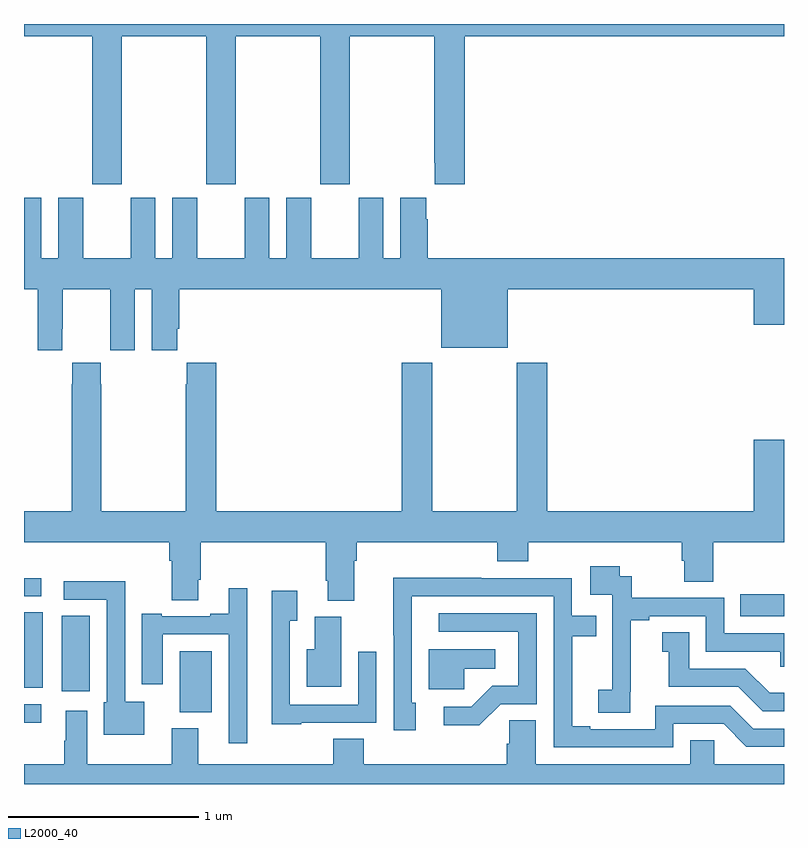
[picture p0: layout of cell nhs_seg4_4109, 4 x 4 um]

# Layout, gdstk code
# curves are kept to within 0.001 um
import gdstk
lib = gdstk.Library(unit=1e-6, precision=1e-09)
def R(c, l, rs):  # rectangles x0, y0, x1, y1
    for r in rs: c.add(gdstk.rectangle(r[:2], r[2:], *l))
def P(c, l, *ps):  # polygons
    for p in ps: c.add(gdstk.Polygon(p, *l))
L2000_40 = (2000, 40)

nhs_seg4_4109 = lib.new_cell('nhs_seg4_4109')
R(nhs_seg4_4109, L2000_40, [(329,777.223,329.092,777.321), (329.819,777.278,329.989,777.598), (329.198,777.387,329.347,777.785), (329,777.406,329.098,777.803), (332.77,777.783,333,777.898), (329,777.888,329.092,777.984)])
P(nhs_seg4_4109, L2000_40, [(329.514,780.836),(329.959,780.836),(329.959,780.057),(330.114,780.057),(330.114,780.836),(330.559,780.836),(330.559,780.057),(330.714,780.057),(330.714,780.836),(331.159,780.836),(331.159,780.169),(331.163,780.169),(331.163,780.057),(331.319,780.057),(331.319,780.836),(333,780.836),(333,780.9),(329,780.9),(329,780.836),(329.359,780.836),(329.359,780.057),(329.514,780.057)],
  [(329.202,779.296),(329.203,779.296),(329.203,779.504),(329.453,779.504),(329.453,779.296),(329.454,779.296),(329.454,779.184),(329.584,779.184),(329.584,779.504),(329.672,779.504),(329.672,779.184),(329.806,779.184),(329.806,779.296),(329.816,779.296),(329.816,779.504),(331.196,779.504),(331.196,779.195),(331.546,779.195),(331.546,779.504),(332.84,779.504),(332.84,779.316),(333,779.316),(333,779.668),(331.124,779.668),(331.124,779.873),(331.117,779.873),(331.117,779.986),(330.98,779.986),(330.98,779.668),(330.892,779.668),(330.892,779.986),(330.761,779.986),(330.761,779.668),(330.511,779.668),(330.511,779.986),(330.38,779.986),(330.38,779.668),(330.292,779.668),(330.292,779.986),(330.161,779.986),(330.161,779.668),(329.911,779.668),(329.911,779.986),(329.78,779.986),(329.78,779.668),(329.692,779.668),(329.692,779.986),(329.561,779.986),(329.561,779.668),(329.311,779.668),(329.311,779.986),(329.18,779.986),(329.18,779.668),(329.092,779.668),(329.092,779.986),(329,779.986),(329,779.504),(329.072,779.504),(329.072,779.184),(329.202,779.184)],
  [(331.655,778.172),(332.462,778.172),(332.462,778.074),(332.474,778.074),(332.474,777.964),(332.627,777.964),(332.627,778.172),(333,778.172),(333,778.711),(332.84,778.711),(332.84,778.336),(331.754,778.336),(331.754,779.116),(331.594,779.116),(331.594,778.336),(331.149,778.336),(331.149,779.116),(330.989,779.116),(330.989,778.336),(330.011,778.336),(330.011,779.116),(329.857,779.116),(329.857,779.003),(329.851,779.003),(329.851,778.336),(329.406,778.336),(329.406,779.003),(329.403,779.003),(329.403,779.116),(329.253,779.116),(329.253,779.003),(329.251,779.003),(329.251,778.336),(329,778.336),(329,778.172),(329.765,778.172),(329.765,778.076),(329.777,778.076),(329.777,777.868),(329.917,777.868),(329.917,777.976),(329.93,777.976),(329.93,778.172),(330.587,778.172),(330.587,777.97),(330.599,777.97),(330.599,777.865),(330.739,777.865),(330.739,778.076),(330.752,778.076),(330.752,778.172),(331.49,778.172),(331.49,778.073),(331.655,778.073)],
  [(332.192,777.385),(332.194,777.385),(332.194,777.763),(332.29,777.763),(332.29,777.783),(332.589,777.783),(332.589,777.597),(332.979,777.597),(332.979,777.516),(333,777.516),(333,777.693),(332.685,777.693),(332.685,777.879),(332.198,777.879),(332.198,777.993),(332.136,777.993),(332.136,778.045),(331.98,778.045),(331.98,777.897),(332.097,777.897),(332.097,777.593),(332.096,777.593),(332.096,777.396),(332.022,777.396),(332.022,777.274),(332.192,777.274)],
  [(332.418,777.216),(332.682,777.216),(332.802,777.096),(333,777.096),(333,777.192),(332.838,777.192),(332.718,777.312),(332.322,777.312),(332.322,777.189),(331.981,777.189),(331.981,777.204),(331.885,777.204),(331.885,777.678),(332.012,777.678),(332.012,777.786),(331.884,777.786),(331.884,777.984),(331.406,777.984),(331.406,777.986),(330.944,777.986),(330.945,777.183),(331.063,777.183),(331.063,777.327),(331.041,777.327),(331.041,777.888),(331.788,777.888),(331.788,777.093),(332.418,777.093)],
  [(329.632,777.334),(329.532,777.334),(329.532,777.968),(329.208,777.968),(329.208,777.87),(329.436,777.87),(329.436,777.33),(329.42,777.33),(329.42,777.158),(329.632,777.158)],
  [(330.174,777.931),(330.077,777.931),(330.077,777.796),(329.981,777.796),(329.981,777.783),(329.725,777.783),(329.725,777.796),(329.621,777.796),(329.621,777.426),(329.731,777.426),(329.731,777.687),(330.078,777.687),(330.078,777.114),(330.174,777.114)],
  [(330.459,777.222),(330.855,777.222),(330.855,777.595),(330.759,777.595),(330.759,777.318),(330.399,777.318),(330.399,777.76),(330.439,777.76),(330.439,777.916),(330.303,777.916),(330.303,777.215),(330.459,777.215)],
  [(331.509,777.321),(331.698,777.321),(331.698,777.798),(331.182,777.798),(331.182,777.702),(331.602,777.702),(331.602,777.417),(331.464,777.417),(331.353,777.306),(331.209,777.306),(331.209,777.209),(331.396,777.209)],
  [(330.67,777.78),(330.53,777.78),(330.53,777.61),(330.488,777.61),(330.488,777.413),(330.67,777.413)],
  [(333,777.379),(332.924,777.379),(332.796,777.507),(332.5,777.507),(332.5,777.698),(332.36,777.698),(332.36,777.595),(332.393,777.595),(332.393,777.411),(332.76,777.411),(332.889,777.282),(333,777.282)],
  [(331.317,777.506),(331.48,777.506),(331.48,777.61),(331.13,777.61),(331.13,777.399),(331.317,777.399)],
  [(333,777.004),(332.634,777.004),(332.634,777.131),(332.507,777.131),(332.507,777.004),(331.693,777.004),(331.693,777.236),(331.554,777.236),(331.554,777.113),(331.541,777.113),(331.541,777.004),(330.788,777.004),(330.788,777.137),(330.628,777.137),(330.628,777.004),(329.917,777.004),(329.917,777.193),(329.777,777.193),(329.777,777.004),(329.332,777.004),(329.332,777.286),(329.219,777.286),(329.219,777.128),(329.212,777.128),(329.212,777.004),(329,777.004),(329,776.9),(333,776.9)])

lib.write_gds('nhs_seg4_4109.gds')
